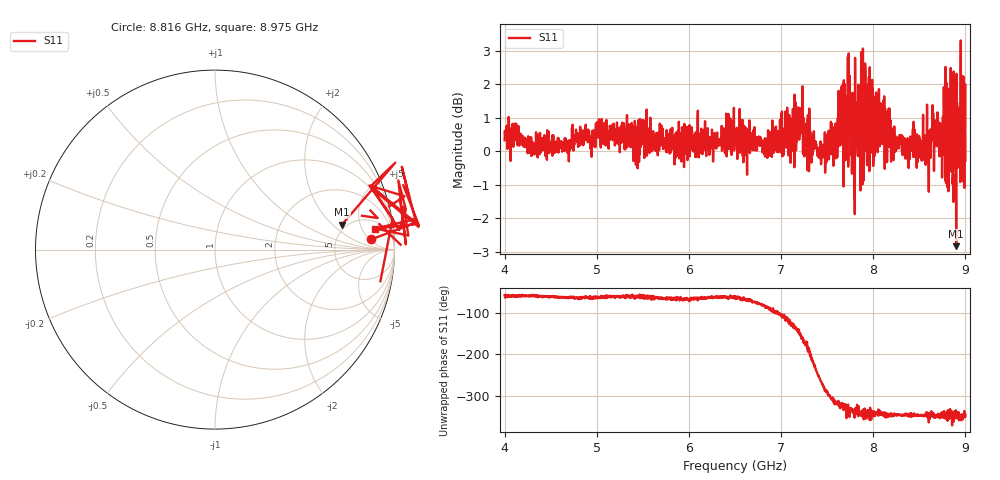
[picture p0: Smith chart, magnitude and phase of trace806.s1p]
! Created with skrf 1.8.0 (http://scikit-rf.org).
# Hz S RI R 50.0
!freq ReS11 ImS11
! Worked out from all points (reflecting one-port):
!   1601 points, 4 GHz to 9 GHz, reference 50 ohm
!   lowest |S11| = -2.8 dB at 8.9 GHz (marker M1), VSWR 6.19, Z = 229 + j133 ohm
!   phase of S11 starts at -58 deg and turns -287 deg over the sweep
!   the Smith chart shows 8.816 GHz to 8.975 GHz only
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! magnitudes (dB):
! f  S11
! 4 GHz  0.3
! 4.625 GHz  0.0
! 5.25 GHz  0.0
! 5.875 GHz  0.4
! 6.5 GHz  0.5
! 6.825 GHz  0.4
! 7.125 GHz  0.1
! 7.209 GHz  0.9
! 7.328 GHz  -0.2
! 7.478 GHz  -0.6
! 7.594 GHz  -0.2
! 7.65 GHz  1.7
! 7.703 GHz  -0.3
! 7.75 GHz  0.7
! 7.775 GHz  1.7
! 7.928 GHz  0.9
! 7.944 GHz  2.0
! 7.962 GHz  2.5
! 7.981 GHz  1.3
! 8.375 GHz  0.1
! 8.578 GHz  -0.1
! 8.656 GHz  0.8
! 8.725 GHz  0.8
! 8.819 GHz  1.1
! 8.875 GHz  0.6
! 8.9 GHz  -2.8
! 8.972 GHz  0.7
! 9 GHz  -0.3
